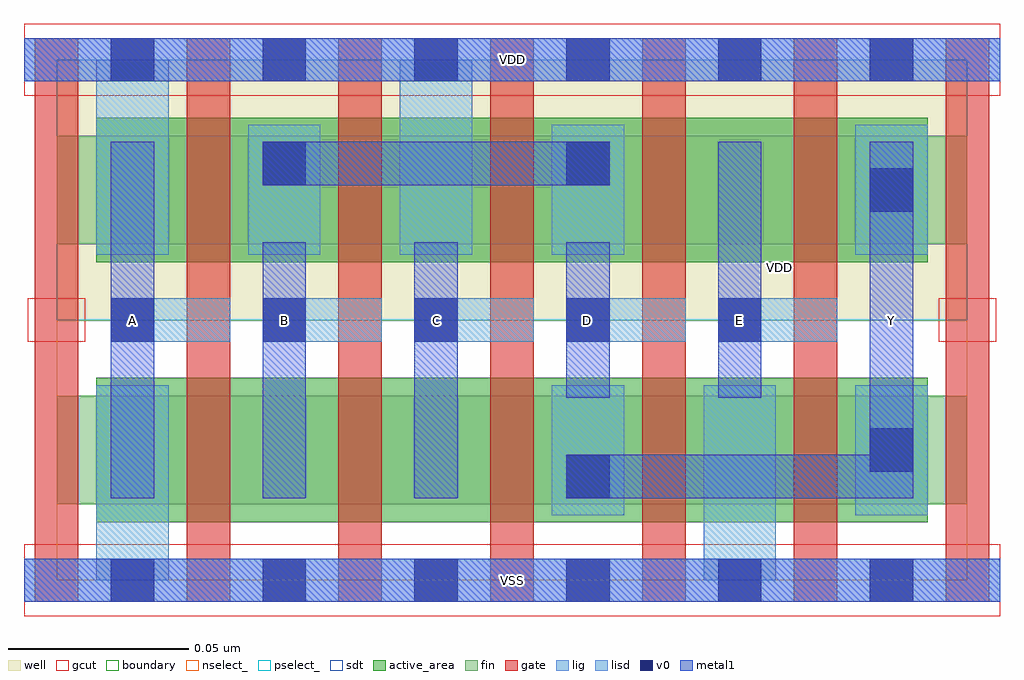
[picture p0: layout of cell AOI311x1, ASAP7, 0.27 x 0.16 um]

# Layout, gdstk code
import gdstk
lib = gdstk.Library(unit=1e-6, precision=2.5e-10)
def R(c, l, rs):  # rectangles x0, y0, x1, y1
    for r in rs: c.add(gdstk.rectangle(r[:2], r[2:], *l))
def A(c, l, x, y, w, h, nx, ny, dx, dy):  # array of equal rectangles
    R(c, l, [(x+i*dx, y+j*dy, x+i*dx+w, y+j*dy+h) for i in range(nx) for j in range(ny)])
def P(c, l, *ps):  # polygons
    for p in ps: c.add(gdstk.Polygon(p, *l))
well = (1, 0)
fin = (2, 0)
gate = (7, 0)
gcut = (10, 0)
active_area = (11, 0)
nselect_ = (12, 0)
pselect_ = (13, 0)
lig = (16, 0)
lisd = (17, 0)
v0 = (18, 0)
metal1 = (19, 0)
sdt = (88, 0)
boundary = (100, 0)

aoi311x1 = lib.new_cell('AOI311x1')
R(aoi311x1, well, [(0,0.072,0.252,0.144)])
R(aoi311x1, fin, [(0,0.021,0.252,0.051), (0,0.093,0.252,0.123)])
A(aoi311x1, gate, -0.006, -0.006, 0.012, 0.156, 7, 1, 0.042, 0)
R(aoi311x1, gcut, [(-0.009,-0.01,0.261,0.01), (-0.008,0.066,0.008,0.078), (0.244,0.066,0.26,0.078), (-0.009,0.134,0.261,0.154)])
R(aoi311x1, active_area, [(0.011,0.016,0.241,0.056), (0.011,0.088,0.241,0.128)])
R(aoi311x1, nselect_, [(0,0,0.252,0.072)])
R(aoi311x1, pselect_, [(0,0.072,0.252,0.144)])
A(aoi311x1, lig, 0.015, 0.066, 0.033, 0.012, 5, 1, 0.042, 0)
R(aoi311x1, lig, [(-0.009,-0.006,0.261,0.006), (-0.009,0.138,0.261,0.15)])
A(aoi311x1, lisd, 0.053, 0.09, 0.02, 0.036, 3, 1, 0.084, 0)
R(aoi311x1, lisd, [(0.011,0,0.031,0.054), (0.179,0,0.199,0.054), (0.137,0.018,0.157,0.054), (0.221,0.018,0.241,0.054), (0.011,0.09,0.031,0.144), (0.095,0.09,0.115,0.144)])
A(aoi311x1, v0, 0.015, -0.006, 0.012, 0.012, 6, 2, 0.042, 0.144)
A(aoi311x1, v0, 0.015, 0.066, 0.012, 0.012, 5, 1, 0.042, 0)
R(aoi311x1, v0, [(0.141,0.0227,0.153,0.0348), (0.225,0.03,0.237,0.042), (0.225,0.102,0.237,0.114), (0.057,0.1092,0.069,0.1212), (0.141,0.1092,0.153,0.1212)])
R(aoi311x1, metal1, [(-0.009,-0.006,0.261,0.006), (0.015,0.0227,0.027,0.1212), (0.057,0.0227,0.069,0.0935), (0.099,0.0227,0.111,0.0935), (0.141,0.0505,0.153,0.0935), (0.183,0.0505,0.195,0.1212), (0.057,0.1092,0.153,0.1212), (-0.009,0.138,0.261,0.15)])
P(aoi311x1, metal1, [(0.141,0.0348),(0.225,0.0348),(0.225,0.1212),(0.237,0.1212),(0.237,0.0227),(0.141,0.0227)])
A(aoi311x1, sdt, 0.137, 0.021, 0.02, 0.03, 3, 1, 0.042, 0)
A(aoi311x1, sdt, 0.011, 0.093, 0.02, 0.03, 4, 1, 0.042, 0)
R(aoi311x1, sdt, [(0.011,0.021,0.031,0.051), (0.221,0.093,0.241,0.123)])
R(aoi311x1, boundary, [(0,0,0.252,0.144)])
aoi311x1.add(gdstk.Label('VDD', (0.2,0.0865), layer=1, texttype=251))
aoi311x1.add(gdstk.Label('VSS', (0.28,0.0505), layer=3, texttype=251))
aoi311x1.add(gdstk.Label('E', (0.189,0.072), layer=19, texttype=251))
aoi311x1.add(gdstk.Label('D', (0.147,0.072), layer=19, texttype=251))
aoi311x1.add(gdstk.Label('C', (0.105,0.072), layer=19, texttype=251))
aoi311x1.add(gdstk.Label('Y', (0.231,0.072), layer=19, texttype=251))
aoi311x1.add(gdstk.Label('A', (0.021,0.072), layer=19, texttype=251))
aoi311x1.add(gdstk.Label('VSS', (0.126,0), layer=19, texttype=251))
aoi311x1.add(gdstk.Label('VDD', (0.126,0.144), layer=19, texttype=251))
aoi311x1.add(gdstk.Label('B', (0.063,0.072), layer=19, texttype=251))

lib.write_gds('AOI311x1.gds')
